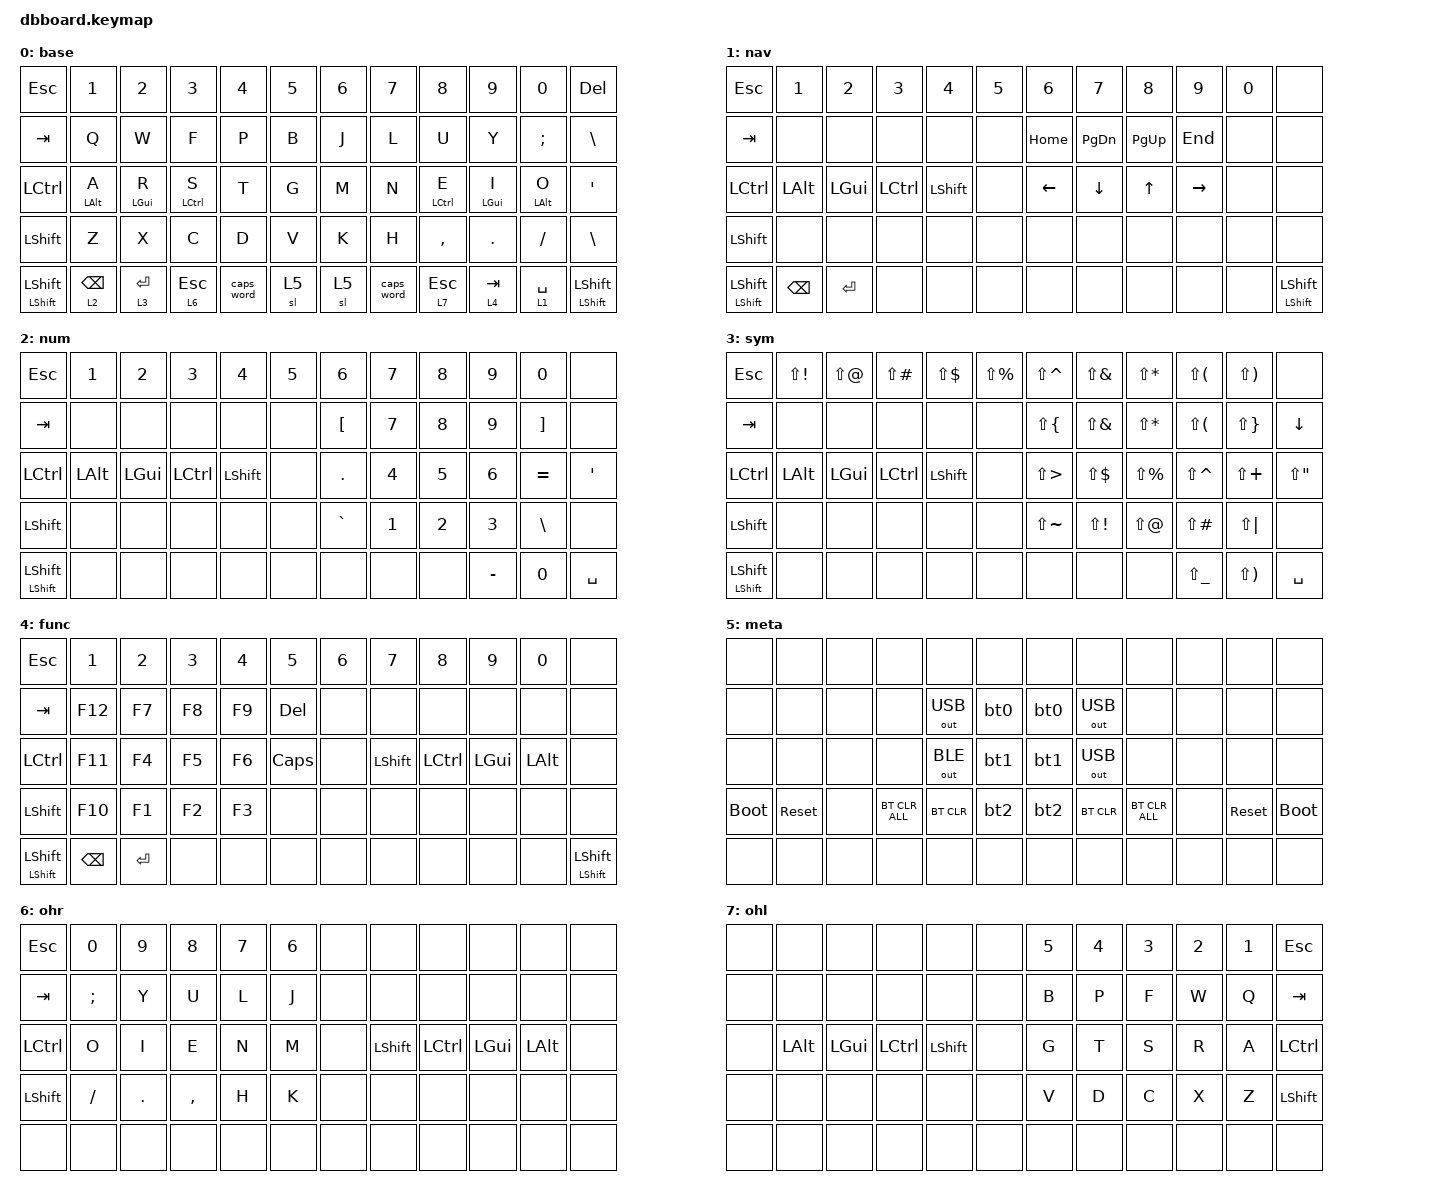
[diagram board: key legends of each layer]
/* Include all behavior includes needed */

#include <behaviors.dtsi>
#include <dt-bindings/zmk/bt.h>
#include <dt-bindings/zmk/keys.h>
#include <dt-bindings/zmk/outputs.h>

#define LAYER_Base 0

&sk { quick-release; };

/ {
    macros {
        bt0: bt0 {
            compatible = "zmk,behavior-macro";
            #binding-cells = <0>;
            bindings = <&bt BT_SEL 0 &out OUT_BLE>;
            label = "BT1";
        };

        bt1: bt1 {
            compatible = "zmk,behavior-macro";
            #binding-cells = <0>;
            bindings = <&bt BT_SEL 1 &out OUT_BLE>;
            label = "BT1";
        };

        bt2: bt2 {
            compatible = "zmk,behavior-macro";
            #binding-cells = <0>;
            bindings = <&bt BT_SEL 2 &out OUT_BLE>;
            label = "BT2";
        };
    };

    behaviors {
        clt: clt {
            compatible = "zmk,behavior-hold-tap";
            label = "CLT";
            bindings = <&mo>, <&kp>;

            #binding-cells = <2>;
            tapping-term-ms = <150>;
            flavor = "tap-preferred";
        };

        st_ht: st_ht {
            compatible = "zmk,behavior-hold-tap";
            label = "ST_HT";
            bindings = <&kp>, <&sk>;

            #binding-cells = <2>;
            tapping-term-ms = <150>;
            flavor = "tap-preferred";
            retro-tap;
        };

        lh_hrm: lh_hrm {
            compatible = "zmk,behavior-hold-tap";
            label = "LH_HRM";
            bindings = <&kp>, <&kp>;

            #binding-cells = <2>;
            tapping-term-ms = <200>;
            quick-tap-ms = <150>;
            require-prior-idle-ms = <150>;
            flavor = "tap-preferred";
            retro-tap;
            hold-trigger-key-positions = <42 30 6 18 19 31 43 44 32 20 8 7 45 46 34 33 21 9 22 10 11 23 47 35 57 58>;
        };

        rh_hrm: rh_hrm {
            compatible = "zmk,behavior-hold-tap";
            label = "RH_HRM";
            bindings = <&kp>, <&kp>;

            #binding-cells = <2>;
            tapping-term-ms = <200>;
            quick-tap-ms = <150>;
            require-prior-idle-ms = <150>;
            flavor = "tap-preferred";
            retro-tap;
            hold-trigger-key-positions = <36 24 12 0 1 25 37 13 26 38 27 39 15 27 3 2 14 40 28 16 4 5 29 41 17 50 49>;
        };
    };

    combos {
        compatible = "zmk,combos";

        db_sh_cw {
            bindings = <&kp CAPSLOCK>;
            key-positions = <48 59>;
            layers = <0>;
        };
    };

    keymap {
        compatible = "zmk,keymap";

        base {
            bindings = <
&kp ESC    &kp N1              &kp N2            &kp N3           &kp N4         &kp N5                      &kp N6      &kp N7         &kp N8           &kp N9          &kp N0              &kp DEL
&kp TAB    &kp Q               &kp W             &kp F            &kp P          &kp B                       &kp J       &kp L          &kp U            &kp Y           &kp SEMI            &kp BSLH
&kp LCTRL  &lh_hrm LALT A      &lh_hrm LGUI R    &lh_hrm LCTRL S  &kp T          &kp G                       &kp M       &kp N          &rh_hrm LCTRL E  &rh_hrm LGUI I  &rh_hrm LALT O      &kp SQT
&kp LSHFT  &kp Z               &kp X             &kp C            &kp D          &kp V                       &kp K       &kp H          &kp COMMA        &kp DOT         &kp FSLH            &kp BSLH
           &st_ht LSHFT LSHFT  &clt 2 BACKSPACE  &clt 3 ENTER     &clt 6 ESCAPE  &caps_word  &sl 5    &sl 5  &caps_word  &clt 7 ESCAPE  &clt 4 TAB       &clt 1 SPACE    &st_ht LSHFT LSHFT
            >;
        };

        nav {
            bindings = <
&kp ESC    &kp N1                &kp N2    &kp N3     &kp N4      &kp N5                  &kp N6    &kp N7         &kp N8     &kp N9     &kp N0              &none
&kp TAB    &none                 &none     &none      &none       &none                   &kp HOME  &kp PAGE_DOWN  &kp PG_UP  &kp END    &none               &none
&kp LCTRL  &kp LALT              &kp LGUI  &kp LCTRL  &kp LSHIFT  &none                   &kp LEFT  &kp DOWN       &kp UP     &kp RIGHT  &none               &none
&kp LSHFT  &none                 &none     &none      &none       &none                   &none     &none          &none      &none      &none               &none
           &st_ht LSHIFT LSHIFT  &kp BSPC  &kp RET    &none       &none   &none    &none  &none     &none          &none      &none      &st_ht LSHFT LSHFT
            >;
        };

        num {
            bindings = <
&kp ESC    &kp N1                   &kp N2    &kp N3     &kp N4     &kp N5                  &kp N6     &kp N7  &kp N8     &kp N9  &kp N0     &none
&kp TAB    &none                    &none     &none      &none      &none                   &kp LBKT   &kp N7  &kp N8     &kp N9  &kp RBKT   &none
&kp LCTRL  &kp LALT                 &kp LGUI  &kp LCTRL  &kp LSHFT  &none                   &kp DOT    &kp N4  &kp N5     &kp N6  &kp EQUAL  &kp SQT
&kp LSHFT  &none                    &none     &none      &none      &none                   &kp GRAVE  &kp N1  &kp N2     &kp N3  &kp BSLH   &none
           &st_ht LSHFT LEFT_SHIFT  &none     &none      &none      &none   &none    &none  &none      &none   &kp MINUS  &kp N0  &kp SPACE
            >;
        };

        sym {
            bindings = <
&kp ESC    &kp LS(EXCL)             &kp LS(AT)  &kp LS(POUND)  &kp LS(DLLR)  &kp LS(PRCNT)                  &kp LS(CARET)  &kp LS(AMPS)  &kp LS(STAR)        &kp LS(LPAR)               &kp LS(RPAR)  &none
&kp TAB    &none                    &none       &none          &none         &none                          &kp LS(LBRC)   &kp LS(AMPS)  &kp LS(STAR)        &kp LS(LPAR)               &kp LS(RBRC)  &kp DOWN
&kp LCTRL  &kp LALT                 &kp LGUI    &kp LCTRL      &kp LSHFT     &none                          &kp LS(GT)     &kp LS(DLLR)  &kp LS(PRCNT)       &kp LS(CARET)              &kp LS(PLUS)  &kp LS(DQT)
&kp LSHFT  &none                    &none       &none          &none         &none                          &kp LS(TILDE)  &kp LS(EXCL)  &kp LS(AT)          &kp LS(POUND)              &kp LS(PIPE)  &none
           &st_ht LSHFT LEFT_SHIFT  &none       &none          &none         &none          &none    &none  &none          &none         &kp LS(UNDERSCORE)  &kp LS(RIGHT_PARENTHESIS)  &kp SPACE
            >;
        };

        func {
            bindings = <
&kp ESC     &kp N1                    &kp N2    &kp N3   &kp N4  &kp N5                        &kp N6  &kp N7     &kp N8     &kp N9    &kp N0                &none
&kp TAB     &kp F12                   &kp F7    &kp F8   &kp F9  &kp DEL                       &none   &none      &none      &none     &none                 &none
&kp LCTRL   &kp F11                   &kp F4    &kp F5   &kp F6  &kp CAPSLOCK                  &none   &kp LSHFT  &kp LCTRL  &kp LGUI  &kp LALT              &none
&kp LSHIFT  &kp F10                   &kp F1    &kp F2   &kp F3  &none                         &none   &none      &none      &none     &none                 &none
            &st_ht LSHIFT LEFT_SHIFT  &kp BSPC  &kp RET  &none   &none         &none    &none  &none   &none      &none      &none     &st_ht LSHIFT LSHIFT
            >;
        };

        meta {
            bindings = <
&none        &none       &none  &none           &none         &none                  &none  &none         &none           &none  &none       &none
&none        &none       &none  &none           &out OUT_USB  &bt0                   &bt0   &out OUT_USB  &none           &none  &none       &none
&none        &none       &none  &none           &out OUT_BLE  &bt1                   &bt1   &out OUT_USB  &none           &none  &none       &none
&bootloader  &sys_reset  &none  &bt BT_CLR_ALL  &bt BT_CLR    &bt2                   &bt2   &bt BT_CLR    &bt BT_CLR_ALL  &none  &sys_reset  &bootloader
             &none       &none  &none           &none         &none  &none    &none  &none  &none         &none           &none  &none
            >;
        };

        ohr {
            bindings = <
&kp ESCAPE  &kp N0    &kp N9   &kp N8     &kp N7  &kp N6                  &none  &none      &none      &none     &none     &none
&kp TAB     &kp SEMI  &kp Y    &kp U      &kp L   &kp J                   &none  &none      &none      &none     &none     &none
&kp LCTRL   &kp O     &kp I    &kp E      &kp N   &kp M                   &none  &kp LSHFT  &kp LCTRL  &kp LGUI  &kp LALT  &none
&kp LSHFT   &kp FSLH  &kp DOT  &kp COMMA  &kp H   &kp K                   &none  &none      &none      &none     &none     &none
            &none     &none    &none      &none   &none   &none    &none  &none  &none      &none      &none     &none
            >;
        };

        ohl {
            bindings = <
&none  &none     &none     &none      &none      &none                  &kp N5  &kp N4  &kp N3  &kp N2  &kp N1  &kp ESC
&none  &none     &none     &none      &none      &none                  &kp B   &kp P   &kp F   &kp W   &kp Q   &kp TAB
&none  &kp LALT  &kp LGUI  &kp LCTRL  &kp LSHFT  &none                  &kp G   &kp T   &kp S   &kp R   &kp A   &kp LCTRL
&none  &none     &none     &none      &none      &none                  &kp V   &kp D   &kp C   &kp X   &kp Z   &kp LSHFT
       &none     &none     &none      &none      &none  &none    &none  &none   &none   &none   &none   &none
            >;
        };
    };
};
